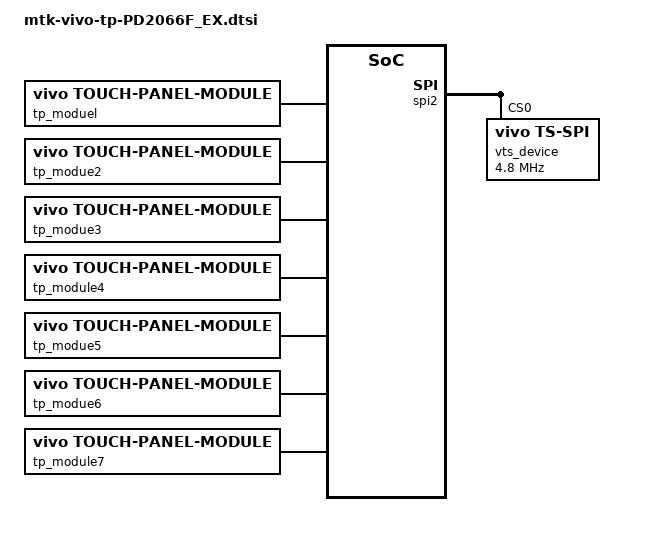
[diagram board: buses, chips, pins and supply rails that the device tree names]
/*********************touch screen config *************************/
&touchscreencfg { /* vivo ts configure */
		
	tp_moduel{
		compatible = "vivo,touch-panel-module";
		vts-ic-number=<82>;
		vts-type=<0>;
		vts-lcmid=<49>;//BOE NT36525
		vts-dimention-x=<720>;
		vts-dimention-y=<1600>;
		vts-tx-sensors=<18>;
		vts-rx-sensors=<32>;
		vts-incell=<1>;
		vts-need-caliberation=<0>;
		vts-virtual-proximinity=<0>;
		vts-long-press=<0>;
		vts-module-vendor=<0xF0>;
		vts-no-flash=<1>;
		vts-input-method=<1>;
		//vts-sleep-time=<50>;
		};
	tp_modue2{
		compatible = "vivo,touch-panel-module";
		vts-ic-number=<82>;
		vts-type=<0>;
		vts-lcmid=<161>;//TXD NT36525
		vts-dimention-x=<720>;
		vts-dimention-y=<1600>;
		vts-tx-sensors=<18>;
		vts-rx-sensors=<32>;
		vts-incell=<1>;
		vts-need-caliberation=<0>;
		vts-virtual-proximinity=<0>;
		vts-long-press=<0>;
		vts-module-vendor=<0xF0>;
		vts-no-flash=<1>;
	};
	tp_modue3{
		compatible = "vivo,touch-panel-module";
		vts-ic-number=<82>;
		vts-type=<0>;
		vts-lcmid=<177>;//INX NT36525
		vts-dimention-x=<720>;
		vts-dimention-y=<1600>;
		vts-tx-sensors=<18>;
		vts-rx-sensors=<32>;
		vts-incell=<1>;
		vts-need-caliberation=<0>;
		vts-virtual-proximinity=<0>;
		vts-long-press=<0>;
		vts-module-vendor=<0xF0>;
		vts-no-flash=<1>;
	};
	tp_module4 {
		compatible = "vivo,touch-panel-module";
		vts-ic-number=<90>;
		vts-type=<0>;
		vts-lcmid=<17>;//0x11  ili9881 
		vts-dimention-x=<720>;
		vts-dimention-y=<1600>;
		vts-tx-sensors=<18>;
		vts-rx-sensors=<32>;
		vts-incell=<1>;
		vts-need-caliberation=<0>;
		vts-virtual-proximinity=<0>;
		vts-long-press=<0>;
		vts-module-vendor=<0xF0>;
		vts-no-flash=<1>;
	};
	tp_modue5{
		compatible = "vivo,touch-panel-module";
		vts-ic-number=<82>;
		vts-type=<0>;
		vts-lcmid=<178>;//INX NT36525 G5
		vts-dimention-x=<720>;
		vts-dimention-y=<1600>;
		vts-tx-sensors=<18>;
		vts-rx-sensors=<32>;
		vts-incell=<1>;
		vts-need-caliberation=<0>;
		vts-virtual-proximinity=<0>;
		vts-long-press=<0>;
		vts-module-vendor=<0xF0>;
		vts-no-flash=<1>;
	};
	tp_modue6{
		compatible = "vivo,touch-panel-module";
		vts-ic-number=<39>;
		vts-type=<0>;
		vts-lcmid=<129>;//FT8656 0X81
		vts-dimention-x=<720>;
		vts-dimention-y=<1600>;
		vts-tx-sensors=<18>;
		vts-rx-sensors=<32>;
		vts-incell=<1>;
		vts-need-caliberation=<0>;
		vts-virtual-proximinity=<0>;
		vts-long-press=<0>;
		vts-module-vendor=<0xF0>;
		vts-no-flash=<1>;
		vts-game-mode=<1>;
		vts-gesture=<1>;
		vts-game-idle-time=<10>;
	};
	tp_module7 {
		compatible = "vivo,touch-panel-module";
		vts-ic-number=<91>;
		vts-type=<0>;
		vts-lcmid=<18>;//0x12   ILI9882N  
		vts-dimention-x=<720>;
		vts-dimention-y=<1600>;
		vts-tx-sensors=<18>;
		vts-rx-sensors=<32>;
		vts-incell=<1>;
 		vts-need-caliberation=<0>;
 		vts-virtual-proximinity=<0>;
 		vts-long-press=<0>;
		vts-module-vendor=<0xF0>;
		vts-game-mode=<0>;
		vts-gesture=<0>;
		vts-no-flash=<1>;
	};
};


&pio {
	spi_driving_set_cfg:spi_driving_set { 
		pins_cmd_dat { 
			pinmux = <PINMUX_GPIO25__FUNC_SPI2_CSB>,
					<PINMUX_GPIO27__FUNC_SPI2_CLK>,
					<PINMUX_GPIO28__FUNC_SPI2_MI>,
					<PINMUX_GPIO26__FUNC_SPI2_MO>;
			drive-strength = <2>; //0:2mA 1:4mA 2:6mA 3:8mA 4:10mA 5:12mA 6:14mA 7:16mA
		}; 
	};		
};
&spi2 {
	#address-cells = <1>;
	#size-cells = <0>;	
	
	vts_device@0 {
		compatible = "vivo,ts-spi";
		status = "okay";
		reg=<0>;
		spi-max-frequency = <4800000>;
		pinctrl-names ="default";
		pinctrl-0 = <&spi_driving_set_cfg>;
		mediatek,kthread-rt = <1>;
		nt36672 {
			compatible = "novatek,NVT-ts-spi-v2";
			status = "ok";
		
			vts-type=<0>;
			vts-ic-number=<82>;
			spi-max-frequency = <9600000>;	//4800000,9600000,15000000,19200000
			//pinctrl-names = "spi_clk_active","spi_mosi_active";
			//pinctrl-0 = <&spi2_clk_set_cfg>;
			//novatek,reset-gpio = <&pio 23 0x00>;
			novatek,irq-gpio = <&pio 1 0x02>;
			sensor-test-key="com.nttouchscreen.mptest:MainActivity:android.intent.action.novatek:0:testResult";
			lcm-noise-test-key="com.nt36xxxtouchscreen.deltadiff:MainActivity:null:null:null";
			rawdata-test-key="com.nttouchscreen.getdata:MainActivity:null:null:null";
			rf-noise-test-key="com.nt36xxxtouchscreen.deltadiff:BspTest:android.intent.action.nvtdeltadiff:0:testResult";
			
			/* 672 */
			//novatek,swrst-n8-addr = <0x01F01A>;

			/* 672A */
			novatek,swrst-n8-addr = <0x03F0FE>;
		};
		ili9881h {
			compatible = "ilitek,ILI-ts-spi-v2";
			status = "ok";
			vts-type=<0>;
			vts-ic-number=<90>;
			spi-max-frequency = <9600000>;	//4800000,9600000,15000000,19200000
			ilitek,reset-gpio = <&pio 23 0x00>;
			ilitek,irq-gpio = <&pio 1 0x02>;
			
			sensor-test-key="com.ilitek.touchscreen.tptest:MainActivity:com.ilitek.touchscreen.action.tptest:0:ILITEK_TpTestResult";
			lcm-noise-test-key="com.ilitek.touchscreen.noisev2:MainActivity:null:null:null"; 
			rawdata-test-key="com.ilitek.touchscreen.noisev2:DataShowActivity:null:null:null";
			rf-noise-test-key="com.ilitek.touchscreen.noisev2:BspTestActivity:com.ilitek.touchscreen.action.noisetest:0:ILITEK_TpTestResult";
			
		};
		ft8656 {
			compatible = "focaltech,ft8756_v2";
			vts-type=<0>;
			vts-ic-number=<39>;
			spi-max-frequency = <6000000>;	//4800000,9600000,15000000,19200000
			focaltech,reset-gpio = <&pio 23 0x00>;
			focaltech,irq-gpio = <&pio 1 0x02>;
			focaltech,max-touch-number = <10>;
			focaltech,display-coords = <0 0 720 1600>;
			//focaltech,ic_name = "ft8016";//DEFAULT 8756
			sensor-test-key="com.focaltouchscreen.sensortest:MainActivity:com.focaltouchscreen.sensortest:0:focal_test_result";
			lcm-noise-test-key="com.focaltech.deltadiff:MainActivity:null:null:null";
			rawdata-test-key="com.focaltech.deltadiff:DataActivity:null:null:null";
			rf-noise-test-key="com.focaltech.deltadiff:BspTestActivity:com.focaltech.deltadiff:0:testResult";
			//vts-incell-panel=<&dsi_pd2034_auo_ft8016_hdplus_video>;
			
		};
		ili_9882n {
			status = "okay";
			compatible = "tchip,ilitek";
			vts-type=<0>;
			vts-ic-number=<91>;
			spi-max-frequency = <9600000>;
			touch,reset-gpio = <&pio 23 0x00>;
			touch,irq-gpio = <&pio 1 0x02>;

			sensor-test-key="com.ilitek.touchscreen.tptest3X:MP3XActivity:com.ilitek.touchscreen.action.tptest:0:ILITEK_TpTestResult";
			lcm-noise-test-key="com.ilitek.touchscreen.noisev2:MainActivity:null:null:null"; 
			rawdata-test-key="com.ilitek.touchscreen.noisev2:DataShowActivity:null:null:null";
			rf-noise-test-key="com.ilitek.touchscreen.noisev2:BspTestActivity:com.ilitek.touchscreen.action.noisetest:0:ILITEK_TpTestResult";
			//vts-incell-panel=<&dsi_pd2034_tm_ili9882n_hdplus_video>;
		};
	
};
};
	
